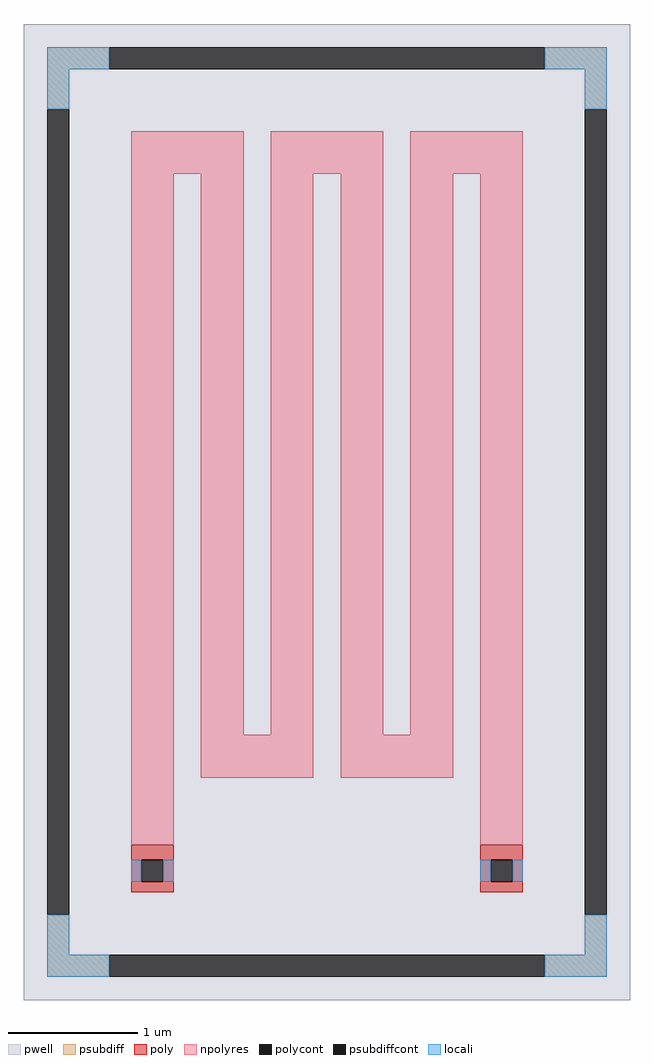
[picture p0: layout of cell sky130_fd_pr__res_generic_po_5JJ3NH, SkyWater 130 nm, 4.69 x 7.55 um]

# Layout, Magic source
magic
tech sky130B
magscale 1 2
<< pwell >>
rect -469 -755 469 755
<< psubdiff >>
rect -433 685 -337 719
rect 337 685 433 719
rect -433 623 -399 685
rect 399 623 433 685
rect -433 -685 -399 -623
rect 399 -685 433 -623
rect -433 -719 -337 -685
rect 337 -719 433 -685
<< psubdiffcont >>
rect -337 685 337 719
rect -433 -623 -399 623
rect 399 -623 433 623
rect -337 -719 337 -685
<< poly >>
rect -303 -538 -237 -515
rect -303 -572 -287 -538
rect -253 -572 -237 -538
rect -303 -588 -237 -572
rect 237 -538 303 -515
rect 237 -572 253 -538
rect 287 -572 303 -538
rect 237 -588 303 -572
<< polycont >>
rect -287 -572 -253 -538
rect 253 -572 287 -538
<< npolyres >>
rect -303 523 -129 589
rect -303 -515 -237 523
rect -195 -345 -129 523
rect -87 523 87 589
rect -87 -345 -21 523
rect -195 -411 -21 -345
rect 21 -345 87 523
rect 129 523 303 589
rect 129 -345 195 523
rect 21 -411 195 -345
rect 237 -515 303 523
<< locali >>
rect -433 685 -337 719
rect 337 685 433 719
rect -433 623 -399 685
rect 399 623 433 685
rect -303 -572 -287 -538
rect -253 -572 -237 -538
rect 237 -572 253 -538
rect 287 -572 303 -538
rect -433 -685 -399 -623
rect 399 -685 433 -623
rect -433 -719 -337 -685
rect 337 -719 433 -685
<< properties >>
string FIXED_BBOX -416 -702 416 702
string gencell sky130_fd_pr__res_generic_po
string library sky130
string parameters w 0.33 l 5 m 1 nx 6 wmin 0.330 lmin 1.650 rho 48.2 val 4.914k dummy 0 dw 0.0 term 0.0 sterm 0.0 caplen 0.4 snake 1 guard 1 glc 1 grc 1 gtc 1 gbc 1 roverlap 0 endcov 100 full_metal 1 hv_guard 0 n_guard 0 vias 1 viagb 0 viagt 0 viagl 0 viagr 0
<< end >>
